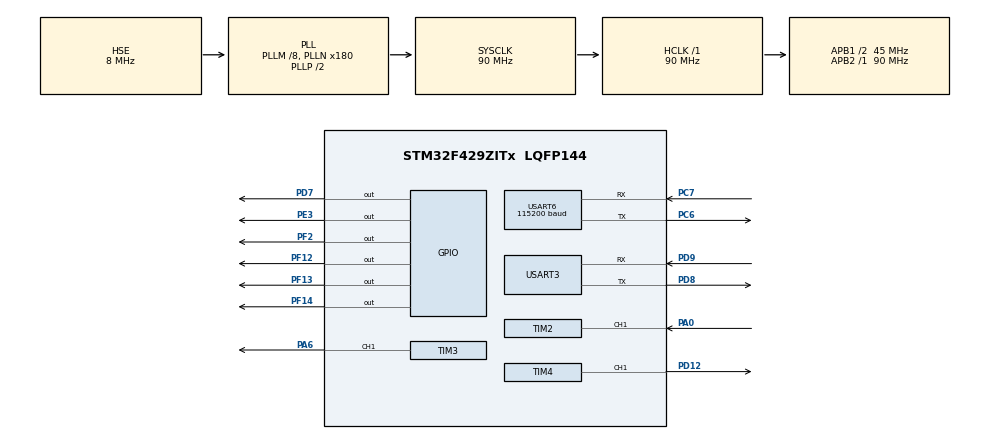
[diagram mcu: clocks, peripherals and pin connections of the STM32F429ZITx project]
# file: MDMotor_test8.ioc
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Mcu.Family=STM32F4
Mcu.Name=STM32F429ZITx
Mcu.Package=LQFP144
NVIC.PriorityGroup=NVIC_PRIORITYGROUP_4
NVIC.TIM2_IRQn=true\:0\:0\:false\:false\:true\:true\:true\:true
NVIC.TIM4_IRQn=true\:0\:0\:false\:false\:true\:true\:true\:true
NVIC.USART3_IRQn=true\:0\:0\:false\:false\:true\:true\:true\:true
NVIC.USART6_IRQn=true\:0\:0\:false\:false\:true\:true\:true\:true
PA0/WKUP.Signal=S_TIM2_CH1_ETR
PA13.Mode=Serial_Wire
PA13.Signal=SYS_JTMS-SWDIO
PA14.Mode=Serial_Wire
PA14.Signal=SYS_JTCK-SWCLK
PA6.Signal=S_TIM3_CH1
PC6.Mode=Asynchronous
PC6.Signal=USART6_TX
PC7.Mode=Asynchronous
PC7.Signal=USART6_RX
PD12.Signal=S_TIM4_CH1
PD7.GPIO_ModeDefaultOutputPP=GPIO_MODE_OUTPUT_PP
PD7.GPIO_PuPd=GPIO_PULLUP
PD7.GPIO_Speed=GPIO_SPEED_FREQ_HIGH
PD7.PinState=GPIO_PIN_RESET
PD7.Signal=GPIO_Output
PD8.Mode=Asynchronous
PD8.Signal=USART3_TX
PD9.Mode=Asynchronous
PD9.Signal=USART3_RX
PE3.GPIO_ModeDefaultOutputPP=GPIO_MODE_OUTPUT_PP
PE3.GPIO_PuPd=GPIO_PULLUP
PE3.GPIO_Speed=GPIO_SPEED_FREQ_HIGH
PE3.PinState=GPIO_PIN_RESET
PE3.Signal=GPIO_Output
PF12.GPIO_ModeDefaultOutputPP=GPIO_MODE_OUTPUT_PP
PF12.GPIO_PuPd=GPIO_PULLUP
PF12.GPIO_Speed=GPIO_SPEED_FREQ_HIGH
PF12.PinState=GPIO_PIN_RESET
PF12.Signal=GPIO_Output
PF13.GPIO_ModeDefaultOutputPP=GPIO_MODE_OUTPUT_PP
PF13.GPIO_PuPd=GPIO_PULLUP
PF13.GPIO_Speed=GPIO_SPEED_FREQ_HIGH
PF13.PinState=GPIO_PIN_RESET
PF13.Signal=GPIO_Output
PF14.GPIO_ModeDefaultOutputPP=GPIO_MODE_OUTPUT_PP
PF14.GPIO_PuPd=GPIO_PULLUP
PF14.GPIO_Speed=GPIO_SPEED_FREQ_HIGH
PF14.PinState=GPIO_PIN_RESET
PF14.Signal=GPIO_Output
PF2.GPIO_ModeDefaultOutputPP=GPIO_MODE_OUTPUT_PP
PF2.GPIO_PuPd=GPIO_PULLUP
PF2.GPIO_Speed=GPIO_SPEED_FREQ_HIGH
PF2.PinState=GPIO_PIN_RESET
PF2.Signal=GPIO_Output
PH0/OSC_IN.Mode=HSE-External-Clock-Source
PH0/OSC_IN.Signal=RCC_OSC_IN
PH1/OSC_OUT.Mode=HSE-External-Clock-Source
PH1/OSC_OUT.Signal=RCC_OSC_OUT
ProjectManager.HeapSize=0x200
ProjectManager.StackSize=0x400
ProjectManager.TargetToolchain=STM32CubeIDE
RCC.48MHZClocksFreq_Value=45000000
RCC.AHBFreq_Value=90000000
RCC.APB1CLKDivider=RCC_HCLK_DIV2
RCC.APB1Freq_Value=45000000
RCC.APB1TimFreq_Value=90000000
RCC.APB2Freq_Value=90000000
RCC.APB2TimFreq_Value=90000000
RCC.CortexFreq_Value=90000000
RCC.HCLKFreq_Value=90000000
RCC.HSE_VALUE=8000000
RCC.HSI_VALUE=16000000
RCC.LSE_VALUE=32768
RCC.PLLM=8
RCC.PLLN=180
RCC.PLLSourceVirtual=RCC_PLLSOURCE_HSE
RCC.SYSCLKFreq_VALUE=90000000
RCC.SYSCLKSource=RCC_SYSCLKSOURCE_PLLCLK
RCC.VCOOutputFreq_Value=180000000
SH.S_TIM2_CH1_ETR.0=TIM2_CH1,Input_Capture1_from_TI1
SH.S_TIM3_CH1.0=TIM3_CH1,PWM Generation1 CH1
SH.S_TIM4_CH1.0=TIM4_CH1,PWM Generation1 CH1
TIM2.Channel-Input_Capture1_from_TI1=TIM_CHANNEL_1
TIM2.ICPolarity_CH1=TIM_INPUTCHANNELPOLARITY_FALLING
TIM2.Period=100
TIM2.Prescaler=9
TIM3.Channel-PWM\ Generation1\ CH1=TIM_CHANNEL_1
TIM3.Period=99
TIM3.Prescaler=89
TIM3.Pulse-PWM\ Generation1\ CH1=3
TIM4.Channel-PWM\ Generation1\ CH1=TIM_CHANNEL_1
TIM4.Period=99
TIM4.Prescaler=89
TIM4.Pulse-PWM\ Generation1\ CH1=3
USART3.VirtualMode=VM_ASYNC
USART6.BaudRate=115200
USART6.VirtualMode=VM_ASYNC
VP_TIM3_VS_ClockSourceINT.Mode=Internal
VP_TIM4_VS_ClockSourceINT.Mode=Internal
board=custom

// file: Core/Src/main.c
/* USER CODE BEGIN Header */
/**
  ******************************************************************************
  * @file           : main.c
  * @brief          : Main program body
  ******************************************************************************
  * @attention
  *
  * Copyright (c) 2024 STMicroelectronics.
  * All rights reserved.
  *
  * This software is licensed under terms that can be found in the LICENSE file
  * in the root directory of this software component.
  * If no LICENSE file comes with this software, it is provided AS-IS.
  *
  ******************************************************************************
  */
/* USER CODE END Header */
#include "main.h"

/* USER CODE BEGIN PD */

#define TxBufferSize_3	(countof(TxBuffer3) - 1)
#define TxBufferSize_6	(countof(TxBuffer6) - 1)
#define RxBufferSize	0xFF

//#define m1_deg_Size		(countof(m1_deg) - 1)

#define rpmS_Size_1	(countof(rpmS_1) - 1)

//#define countof(a)	(sizeof(a) / sizeof(*(a)))
#define countof(a) (sizeof(a) / sizeof(*(a)))

/* USER CODE END PD */

TIM_HandleTypeDef htim2;
TIM_HandleTypeDef htim3;
TIM_HandleTypeDef htim4;

UART_HandleTypeDef huart3;
UART_HandleTypeDef huart6;

/* USER CODE BEGIN PV */

uint8_t TxBuffer3[] = "\n\rUART3 Example 3 (Transmission Success!! )\n\r\n\r";
uint8_t TxBuffer6[] = "\n\rUART2 Example 6 (Transmission Success!! )\n\r\n\r";
uint8_t RxBuffer[RxBufferSize];

uint8_t rpmS_1[256];

//uint8_t

int m1_rpm=0;

int m1_rev=0, m2_rev=0;
int m1_deg=0, m2_deg=0;

//uint8_t

/* USER CODE END PV */

void SystemClock_Config(void);
static void MX_GPIO_Init(void);
static void MX_TIM3_Init(void);
static void MX_TIM4_Init(void);
static void MX_USART3_UART_Init(void);
static void MX_TIM2_Init(void);
static void MX_USART6_UART_Init(void);
/* USER CODE BEGIN PFP */

void LED_OnOff(int, int);

/* Usart printf() */

/*#ifdef __cplusplus
extern "C" int _write(int32_t file, uint8_t *ptr, int32_t len) {
#else
int _write(int32_t file, uint8_t *ptr, int32_t len) {
#endif
	if( HAL_UART_Transmit(&huart3, ptr, len, len) == HAL_OK ) return len;
	else return 0;
}
*/

/* USER CODE END PFP */

int main(void)
{

  /* MCU Configuration--------------------------------------------------------*/

  /* Reset of all peripherals, Initializes the Flash interface and the Systick. */
  HAL_Init();

  /* Configure the system clock */
  SystemClock_Config();

  /* Initialize all configured peripherals */
  MX_GPIO_Init();
  MX_TIM3_Init();
  MX_TIM4_Init();
  MX_USART3_UART_Init();
  MX_TIM2_Init();
  MX_USART6_UART_Init();
  /* USER CODE BEGIN 2 */

//  LED_OnOff(LED_ALL, 500);
  HAL_TIM_Base_Start_IT(&htim3);
  HAL_TIM_PWM_Start(&htim3, TIM_CHANNEL_1);
  HAL_TIM_Base_Start_IT(&htim4);
  HAL_TIM_PWM_Start(&htim4, TIM_CHANNEL_1);

  HAL_TIM_Base_Start_IT(&htim2);
  HAL_TIM_IC_Start_IT(&htim2, TIM_CHANNEL_1);

  HAL_UART_Transmit(&huart3, (uint8_t*)TxBuffer3, TxBufferSize_3 , 0xFFFF);
//  HAL_UART_Transmit(&huart2, (uint8_t*)TxBuffer2, TxBufferSize_2 , 0xFFFF);

//  HAL_StatusTypeDef serial3_status;
//  HAL_StatusTypeDef serial2_status;

  /*
  HAL_GPIO_WritePin(GPIOF, GPIO_PIN_12, RESET);	// Motor1 DIR - CCW
  HAL_GPIO_WritePin(GPIOF, GPIO_PIN_13, RESET);	// Motor1 RUN/BRK - RUN
  HAL_GPIO_WritePin(GPIOF, GPIO_PIN_14, RESET);	// Motor1 START/STOP - START

  HAL_GPIO_WritePin(GPIOF, GPIO_PIN_2, RESET);	// Motor2 DIR - CCW
  HAL_GPIO_WritePin(GPIOD, GPIO_PIN_7, RESET);	// Motor2 RUN/BRK - RUN
  HAL_GPIO_WritePin(GPIOE, GPIO_PIN_3, RESET);	// Motor2 START/STOP - START

*/
/* Init Settings */
/*	  HAL_GPIO_WritePin(GPIOF, GPIO_PIN_12, SET);	// Motor1 DIR - CW
	  HAL_GPIO_WritePin(GPIOF, GPIO_PIN_13, SET);	// Motor1 RUN/BRK - BRK
	  HAL_GPIO_WritePin(GPIOF, GPIO_PIN_14, SET);	// Motor1 START/STOP - STOP

	  HAL_GPIO_WritePin(GPIOF, GPIO_PIN_2, SET);	// Motor2 DIR - CW
	  HAL_GPIO_WritePin(GPIOD, GPIO_PIN_7, SET);	// Motor2 RUN/BRK - BRK
	  HAL_GPIO_WritePin(GPIOE, GPIO_PIN_3, SET);	// Motor2 START/STOP - STOP*/

/* First movement */
/*	  HAL_GPIO_WritePin(GPIOF, GPIO_PIN_13, RESET);	// Motor1 RUN/BRK - RUN
  	  HAL_GPIO_WritePin(GPIOF, GPIO_PIN_14, RESET);	// Motor1 START/STOP - START
  	  HAL_GPIO_WritePin(GPIOD, GPIO_PIN_7, RESET);	// Motor2 RUN/BRK - RUN
  	  HAL_GPIO_WritePin(GPIOE, GPIO_PIN_3, RESET);	// Motor2 START/STOP - START

  	  HAL_Delay(5000);

  	  HAL_GPIO_WritePin(GPIOF, GPIO_PIN_13, SET);	// Motor1 RUN/BRK - BRK
  	  HAL_GPIO_WritePin(GPIOD, GPIO_PIN_7, SET);	// Motor2 RUN/BRK - BRK

  	  HAL_Delay(5000);

  	  HAL_GPIO_WritePin(GPIOF, GPIO_PIN_13, RESET);	// Motor1 RUN/BRK - RUN
  	  HAL_GPIO_WritePin(GPIOD, GPIO_PIN_7, RESET);	// Motor2 RUN/BRK - RUN

  	  HAL_Delay(5000);

  	  HAL_GPIO_WritePin(GPIOF, GPIO_PIN_14, SET);	// Motor1 START/STOP - STOP
  	  HAL_GPIO_WritePin(GPIOE, GPIO_PIN_3, SET);	// Motor2 START/STOP - STOP

  	  HAL_Delay(5000);*/

 /* Second movement */
/*	  HAL_GPIO_WritePin(GPIOF, GPIO_PIN_12, RESET);	// Motor1 DIR - CCW
	  HAL_GPIO_WritePin(GPIOF, GPIO_PIN_2, RESET);	// Motor2 DIR - CCW
	  HAL_GPIO_WritePin(GPIOF, GPIO_PIN_13, RESET);	// Motor1 RUN/BRK - RUN
	  HAL_GPIO_WritePin(GPIOF, GPIO_PIN_14, RESET);	// Motor1 START/STOP - START
	  HAL_GPIO_WritePin(GPIOD, GPIO_PIN_7, RESET);	// Motor2 RUN/BRK - RUN
	  HAL_GPIO_WritePin(GPIOE, GPIO_PIN_3, RESET);	// Motor2 START/STOP - START

	  HAL_Delay(5000);

	  HAL_GPIO_WritePin(GPIOF, GPIO_PIN_13, SET);	// Motor1 RUN/BRK - BRK
	  HAL_GPIO_WritePin(GPIOD, GPIO_PIN_7, SET);	// Motor2 RUN/BRK - BRK

	  HAL_Delay(5000);

	  HAL_GPIO_WritePin(GPIOF, GPIO_PIN_13, RESET);	// Motor1 RUN/BRK - RUN
	  HAL_GPIO_WritePin(GPIOD, GPIO_PIN_7, RESET);	// Motor2 RUN/BRK - RUN

	  HAL_Delay(5000);

	  HAL_GPIO_WritePin(GPIOF, GPIO_PIN_14, SET);	// Motor1 START/STOP - STOP
	  HAL_GPIO_WritePin(GPIOE, GPIO_PIN_3, SET);	// Motor2 START/STOP - STOP

	  HAL_Delay(5000);*/

  /* USER CODE END 2 */

  /* Infinite loop */
  /* USER CODE BEGIN WHILE */
  while (1)
  {
	  /*
	  HAL_GPIO_WritePin(GPIOF, GPIO_PIN_13, RESET);	// Motor1 RUN/BRK - RUN
	  HAL_GPIO_WritePin(GPIOF, GPIO_PIN_14, RESET);	// Motor1 START/STOP - START
	  HAL_GPIO_WritePin(GPIOD, GPIO_PIN_7, RESET);	// Motor2 RUN/BRK - RUN
	  HAL_GPIO_WritePin(GPIOE, GPIO_PIN_3, RESET);	// Motor2 START/STOP - START

	  HAL_Delay(5000);

	  HAL_GPIO_WritePin(GPIOF, GPIO_PIN_13, SET);	// Motor1 RUN/BRK - BRK
	  HAL_GPIO_WritePin(GPIOD, GPIO_PIN_7, SET);	// Motor2 RUN/BRK - BRK

	  HAL_Delay(5000);

	  HAL_GPIO_WritePin(GPIOF, GPIO_PIN_13, RESET);	// Motor1 RUN/BRK - RUN
	  HAL_GPIO_WritePin(GPIOD, GPIO_PIN_7, RESET);	// Motor2 RUN/BRK - RUN

	  HAL_Delay(5000);

	  HAL_GPIO_WritePin(GPIOF, GPIO_PIN_14, SET);	// Motor1 START/STOP - STOP
	  HAL_GPIO_WritePin(GPIOE, GPIO_PIN_3, SET);	// Motor2 START/STOP - STOP

	  HAL_Delay(5000);

	*/

/*	  printf("%d \n", m1_deg);
	  printf("%d \n", m1_rev);
	  printf("\n");
	  HAL_Delay(1000);
	  */

//	  rpmS_1 = HAL_UART_Receive_IT(&huart2, (uint8_t*)RxBuffer, 1);
//	  HAL_UART_Receive_IT(&huart2, RxBuffer, rpmS_Size_1);

/*	  sprintf((char *)rpmS_1, "%d\n", m1_deg);

	  HAL_UART_Transmit(&huart3, rpmS_1, rpmS_Size_1, 0xFFFF);
*/

	  HAL_UART_Transmit_IT(&huart6, (uint8_t*)TxBuffer6, TxBufferSize_6 , 0xFFFF);

	  HAL_UART_Receive_IT(&huart6, (uint8_t*)RxBuffer, 1, 0xFFFF);

/*	  if(HAL_UART_Receive(&huart6, (uint8_t*)RxBuffer, 1, 5000) == HAL_OK)
	  {
		  HAL_UART_Transmit(&huart3, (uint8_t*)RxBuffer, RxBuffer , 0xFFFF);
	  }*/
/*	  if(HAL_UART_Receive(&huart3, (uint8_t*)RxBuffer, 1, 5000) == HAL_OK)
	  {
		  HAL_UART_Transmit(&huart6, (uint8_t*)RxBuffer, 1, 5000);
	  }*/

//	  HAL_UART_Receive_IT

	  HAL_Delay(1000);

    /* USER CODE END WHILE */

  }
}

void SystemClock_Config(void)
{
  RCC_OscInitTypeDef RCC_OscInitStruct = {0};
  RCC_ClkInitTypeDef RCC_ClkInitStruct = {0};

  /** Configure the main internal regulator output voltage
  */
  __HAL_RCC_PWR_CLK_ENABLE();
  __HAL_PWR_VOLTAGESCALING_CONFIG(PWR_REGULATOR_VOLTAGE_SCALE3);

  /** Initializes the RCC Oscillators according to the specified parameters
  * in the RCC_OscInitTypeDef structure.
  */
  RCC_OscInitStruct.OscillatorType = RCC_OSCILLATORTYPE_HSE;
  RCC_OscInitStruct.HSEState = RCC_HSE_BYPASS;
  RCC_OscInitStruct.PLL.PLLState = RCC_PLL_ON;
  RCC_OscInitStruct.PLL.PLLSource = RCC_PLLSOURCE_HSE;
  RCC_OscInitStruct.PLL.PLLM = 8;
  RCC_OscInitStruct.PLL.PLLN = 180;
  RCC_OscInitStruct.PLL.PLLP = RCC_PLLP_DIV2;
  RCC_OscInitStruct.PLL.PLLQ = 4;
  if (HAL_RCC_OscConfig(&RCC_OscInitStruct) != HAL_OK)
  {
    Error_Handler();
  }

  /** Activate the Over-Drive mode
  */
  if (HAL_PWREx_EnableOverDrive() != HAL_OK)
  {
    Error_Handler();
  }

  /** Initializes the CPU, AHB and APB buses clocks
  */
  RCC_ClkInitStruct.ClockType = RCC_CLOCKTYPE_HCLK|RCC_CLOCKTYPE_SYSCLK
                              |RCC_CLOCKTYPE_PCLK1|RCC_CLOCKTYPE_PCLK2;
  RCC_ClkInitStruct.SYSCLKSource = RCC_SYSCLKSOURCE_PLLCLK;
  RCC_ClkInitStruct.AHBCLKDivider = RCC_SYSCLK_DIV1;
  RCC_ClkInitStruct.APB1CLKDivider = RCC_HCLK_DIV2;
  RCC_ClkInitStruct.APB2CLKDivider = RCC_HCLK_DIV1;

  if (HAL_RCC_ClockConfig(&RCC_ClkInitStruct, FLASH_LATENCY_2) != HAL_OK)
  {
    Error_Handler();
  }
}

static void MX_TIM2_Init(void)
{

  TIM_MasterConfigTypeDef sMasterConfig = {0};
  TIM_IC_InitTypeDef sConfigIC = {0};

  htim2.Instance = TIM2;
  htim2.Init.Prescaler = 9;
  htim2.Init.CounterMode = TIM_COUNTERMODE_UP;
  htim2.Init.Period = 100;
  htim2.Init.ClockDivision = TIM_CLOCKDIVISION_DIV1;
  htim2.Init.AutoReloadPreload = TIM_AUTORELOAD_PRELOAD_DISABLE;
  if (HAL_TIM_IC_Init(&htim2) != HAL_OK)
  {
    Error_Handler();
  }
  sMasterConfig.MasterOutputTrigger = TIM_TRGO_RESET;
  sMasterConfig.MasterSlaveMode = TIM_MASTERSLAVEMODE_DISABLE;
  if (HAL_TIMEx_MasterConfigSynchronization(&htim2, &sMasterConfig) != HAL_OK)
  {
    Error_Handler();
  }
  sConfigIC.ICPolarity = TIM_INPUTCHANNELPOLARITY_FALLING;
  sConfigIC.ICSelection = TIM_ICSELECTION_DIRECTTI;
  sConfigIC.ICPrescaler = TIM_ICPSC_DIV1;
  sConfigIC.ICFilter = 0;
  if (HAL_TIM_IC_ConfigChannel(&htim2, &sConfigIC, TIM_CHANNEL_1) != HAL_OK)
  {
    Error_Handler();
  }

}

static void MX_TIM3_Init(void)
{

  TIM_ClockConfigTypeDef sClockSourceConfig = {0};
  TIM_MasterConfigTypeDef sMasterConfig = {0};
  TIM_OC_InitTypeDef sConfigOC = {0};

  htim3.Instance = TIM3;
  htim3.Init.Prescaler = 89;
  htim3.Init.CounterMode = TIM_COUNTERMODE_UP;
  htim3.Init.Period = 99;
  htim3.Init.ClockDivision = TIM_CLOCKDIVISION_DIV1;
  htim3.Init.AutoReloadPreload = TIM_AUTORELOAD_PRELOAD_DISABLE;
  if (HAL_TIM_Base_Init(&htim3) != HAL_OK)
  {
    Error_Handler();
  }
  sClockSourceConfig.ClockSource = TIM_CLOCKSOURCE_INTERNAL;
  if (HAL_TIM_ConfigClockSource(&htim3, &sClockSourceConfig) != HAL_OK)
  {
    Error_Handler();
  }
  if (HAL_TIM_PWM_Init(&htim3) != HAL_OK)
  {
    Error_Handler();
  }
  sMasterConfig.MasterOutputTrigger = TIM_TRGO_RESET;
  sMasterConfig.MasterSlaveMode = TIM_MASTERSLAVEMODE_DISABLE;
  if (HAL_TIMEx_MasterConfigSynchronization(&htim3, &sMasterConfig) != HAL_OK)
  {
    Error_Handler();
  }
  sConfigOC.OCMode = TIM_OCMODE_PWM1;
  sConfigOC.Pulse = 3;
  sConfigOC.OCPolarity = TIM_OCPOLARITY_HIGH;
  sConfigOC.OCFastMode = TIM_OCFAST_DISABLE;
  if (HAL_TIM_PWM_ConfigChannel(&htim3, &sConfigOC, TIM_CHANNEL_1) != HAL_OK)
  {
    Error_Handler();
  }
  HAL_TIM_MspPostInit(&htim3);

}

static void MX_TIM4_Init(void)
{

  TIM_ClockConfigTypeDef sClockSourceConfig = {0};
  TIM_MasterConfigTypeDef sMasterConfig = {0};
  TIM_OC_InitTypeDef sConfigOC = {0};

  htim4.Instance = TIM4;
  htim4.Init.Prescaler = 89;
  htim4.Init.CounterMode = TIM_COUNTERMODE_UP;
  htim4.Init.Period = 99;
  htim4.Init.ClockDivision = TIM_CLOCKDIVISION_DIV1;
  htim4.Init.AutoReloadPreload = TIM_AUTORELOAD_PRELOAD_DISABLE;
  if (HAL_TIM_Base_Init(&htim4) != HAL_OK)
  {
    Error_Handler();
  }
  sClockSourceConfig.ClockSource = TIM_CLOCKSOURCE_INTERNAL;
  if (HAL_TIM_ConfigClockSource(&htim4, &sClockSourceConfig) != HAL_OK)
  {
    Error_Handler();
  }
  if (HAL_TIM_PWM_Init(&htim4) != HAL_OK)
  {
    Error_Handler();
  }
  sMasterConfig.MasterOutputTrigger = TIM_TRGO_RESET;
  sMasterConfig.MasterSlaveMode = TIM_MASTERSLAVEMODE_DISABLE;
  if (HAL_TIMEx_MasterConfigSynchronization(&htim4, &sMasterConfig) != HAL_OK)
  {
    Error_Handler();
  }
  sConfigOC.OCMode = TIM_OCMODE_PWM1;
  sConfigOC.Pulse = 3;
  sConfigOC.OCPolarity = TIM_OCPOLARITY_HIGH;
  sConfigOC.OCFastMode = TIM_OCFAST_DISABLE;
  if (HAL_TIM_PWM_ConfigChannel(&htim4, &sConfigOC, TIM_CHANNEL_1) != HAL_OK)
  {
    Error_Handler();
  }
  HAL_TIM_MspPostInit(&htim4);

}

static void MX_USART3_UART_Init(void)
{

  huart3.Instance = USART3;
  huart3.Init.BaudRate = 115200;
  huart3.Init.WordLength = UART_WORDLENGTH_8B;
  huart3.Init.StopBits = UART_STOPBITS_1;
  huart3.Init.Parity = UART_PARITY_NONE;
  huart3.Init.Mode = UART_MODE_TX_RX;
  huart3.Init.HwFlowCtl = UART_HWCONTROL_NONE;
  huart3.Init.OverSampling = UART_OVERSAMPLING_16;
  if (HAL_UART_Init(&huart3) != HAL_OK)
  {
    Error_Handler();
  }

}

static void MX_USART6_UART_Init(void)
{

  huart6.Instance = USART6;
  huart6.Init.BaudRate = 115200;
  huart6.Init.WordLength = UART_WORDLENGTH_8B;
  huart6.Init.StopBits = UART_STOPBITS_1;
  huart6.Init.Parity = UART_PARITY_NONE;
  huart6.Init.Mode = UART_MODE_TX_RX;
  huart6.Init.HwFlowCtl = UART_HWCONTROL_NONE;
  huart6.Init.OverSampling = UART_OVERSAMPLING_16;
  if (HAL_UART_Init(&huart6) != HAL_OK)
  {
    Error_Handler();
  }

}

static void MX_GPIO_Init(void)
{
  GPIO_InitTypeDef GPIO_InitStruct = {0};

  /* GPIO Ports Clock Enable */
  __HAL_RCC_GPIOE_CLK_ENABLE();
  __HAL_RCC_GPIOF_CLK_ENABLE();
  __HAL_RCC_GPIOH_CLK_ENABLE();
  __HAL_RCC_GPIOA_CLK_ENABLE();
  __HAL_RCC_GPIOD_CLK_ENABLE();
  __HAL_RCC_GPIOC_CLK_ENABLE();

  /*Configure GPIO pin Output Level */
  HAL_GPIO_WritePin(GPIOE, GPIO_PIN_3, GPIO_PIN_RESET);

  /*Configure GPIO pin Output Level */
  HAL_GPIO_WritePin(GPIOF, GPIO_PIN_2|GPIO_PIN_12|GPIO_PIN_13|GPIO_PIN_14, GPIO_PIN_RESET);

  /*Configure GPIO pin Output Level */
  HAL_GPIO_WritePin(GPIOD, GPIO_PIN_7, GPIO_PIN_RESET);

  /*Configure GPIO pin : PE3 */
  GPIO_InitStruct.Pin = GPIO_PIN_3;
  GPIO_InitStruct.Mode = GPIO_MODE_OUTPUT_PP;
  GPIO_InitStruct.Pull = GPIO_PULLUP;
  GPIO_InitStruct.Speed = GPIO_SPEED_FREQ_HIGH;
  HAL_GPIO_Init(GPIOE, &GPIO_InitStruct);

  /*Configure GPIO pins : PF2 PF12 PF13 PF14 */
  GPIO_InitStruct.Pin = GPIO_PIN_2|GPIO_PIN_12|GPIO_PIN_13|GPIO_PIN_14;
  GPIO_InitStruct.Mode = GPIO_MODE_OUTPUT_PP;
  GPIO_InitStruct.Pull = GPIO_PULLUP;
  GPIO_InitStruct.Speed = GPIO_SPEED_FREQ_HIGH;
  HAL_GPIO_Init(GPIOF, &GPIO_InitStruct);

  /*Configure GPIO pin : PD7 */
  GPIO_InitStruct.Pin = GPIO_PIN_7;
  GPIO_InitStruct.Mode = GPIO_MODE_OUTPUT_PP;
  GPIO_InitStruct.Pull = GPIO_PULLUP;
  GPIO_InitStruct.Speed = GPIO_SPEED_FREQ_HIGH;
  HAL_GPIO_Init(GPIOD, &GPIO_InitStruct);

}

/* USER CODE BEGIN 4 */
/*
void LED_OnOff(int led, int interval)
{
	HAL_GPIO_WritePin(GPIO_LED, led, GPIO_PIN_SET );
	HAL_GPIO_WritePin(GPIO_LED_Nucleo, led, GPIO_PIN_SET );
	HAL_Delay(interval);
	HAL_GPIO_WritePin(GPIO_LED, led, GPIO_PIN_RESET );
	HAL_GPIO_WritePin(GPIO_LED_Nucleo, led, GPIO_PIN_RESET );
}*/
/*
void HAL_TIM_PeriodElapsedCallback(TIM_HandleTypeDef *htim)
{
	HAL_GPIO_TogglePin(GPIO_LED, LED_ALL);
}
*/

void HAL_TIM_IC_CaptureCallback(TIM_HandleTypeDef *htim)
{
	if ( htim->Instance == TIM2){
		if(htim->Channel == HAL_TIM_ACTIVE_CHANNEL_1)
		{
			m1_deg = m1_deg + 1;
			if(m1_deg==240)
			{
				m1_deg = 0;
				m1_rev++;
			}

/*		  	printf("%d \n", m1_deg);
			printf("%d \n", m1_rev);
			printf("\n");*/
		}

	}

}

void HAL_UART_RxCpltCallback(UART_HandleTypeDef *UartHandler)
{
//	HAL_UART_Transmit_IT(&huart3, (uint8_t*)RxBuffer, 1);

	  if(HAL_UART_Receive(&huart6, (uint8_t*)RxBuffer, 1, 0xFFFF) == HAL_OK)
	  {
		  HAL_UART_Transmit(&huart3, (uint8_t*)RxBuffer, RxBuffer , 0xFFFF);
	  }

}

/* USER CODE END 4 */

void Error_Handler(void)
{
  __disable_irq();
  while (1)
  {
  }
}
